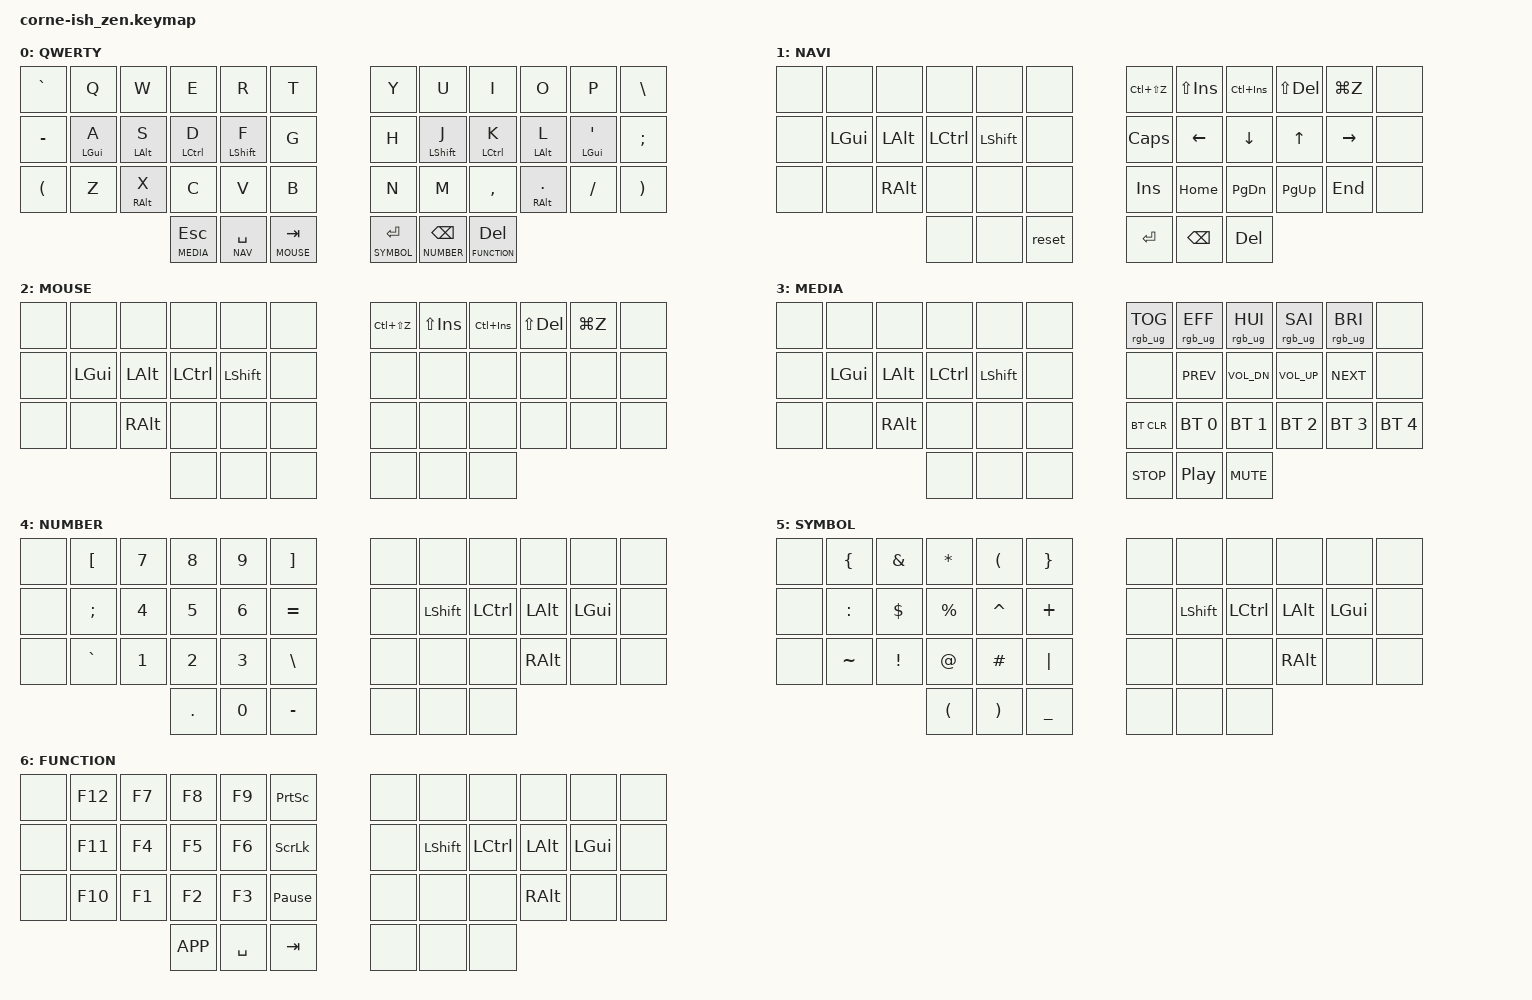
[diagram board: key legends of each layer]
/*
*
* Copyright (c) 2021 lowprokb.ca
* SPDX-License-Identifier: MIT
*
*/

#include <behaviors.dtsi>
#include <dt-bindings/zmk/keys.h>
#include <dt-bindings/zmk/bt.h>
#include <dt-bindings/zmk/rgb.h>

#define QWERTY 0
#define NAV 1
#define MOUSE 2
#define MEDIA 3
#define NUMBER 4
#define SYMBOL 5
#define FUNCTION 6

&mt {
	tapping-term-ms = <200>;
	flavor = "tap-preferred";
};

&caps_word {
    continue-list = <UNDERSCORE MINUS>; // Allow _ and - to NOT break caps word
};

/ {
		combos {
			compatible = "zmk,combos";

			combo_caps_word {
				timeout-ms = <50>;
				key-positions = <16 19>; // LSHIFT + RSHIFT
				bindings = <&caps_word>;
				layers = <0>; // Only on QWERTY layer
			};

			// The following combos are really only for MacOS
			combo_undo {
				timeout-ms = <50>;
				key-positions = <25 26>; // Z + X
				bindings = <&kp LG(Z)>; // CMD + Z
				layers = <0>; // Only on QWERTY layer
			};

			combo_cut {
				timeout-ms = <50>;
				key-positions = <25 27>; // Z + C
				bindings = <&kp LG(X)>; // CMD + X
				layers = <0>; // Only on QWERTY layer
			};

			combo_copy {
				timeout-ms = <50>;
				key-positions = <26 27>; // X + C
				bindings = <&kp LG(C)>; // CMD + C
				layers = <0>; // Only on QWERTY layer
			};

			combo_paste {
				timeout-ms = <50>;
				key-positions = <27 28>; // C + V
				bindings = <&kp LG(V)>; // CMD + V
				layers = <0>; // Only on QWERTY layer
			};

			combo_select_all {
				timeout-ms = <50>;
				key-positions = <25 28>; // Z + V
				bindings = <&kp LG(A)>; // CMD + A
				layers = <0>; // Only on QWERTY layer
			};

		};

        keymap {
                compatible = "zmk,keymap";

                default_layer {
                        label = "QWERTY";
                        bindings = <
   &kp GRAVE &kp Q      &kp W 	   &kp E       &kp R       &kp T    &kp Y &kp U       &kp I       &kp O        &kp P         &kp BSLH
   &kp MINUS &mt LGUI A &mt LALT S &mt LCTRL D &mt LSHFT F &kp G    &kp H &mt LSHFT J &mt LCTRL K &mt LALT L   &mt LGUI SQT  &kp SEMI
   &kp LPAR  &kp Z      &mt RALT X &kp C       &kp V       &kp B    &kp N &kp M       &kp COMMA   &mt RALT DOT &kp FSLH      &kp RPAR
            	       &lt MEDIA ESC &lt NAV SPACE &lt MOUSE TAB    &lt SYMBOL RET &lt NUMBER BSPC &lt FUNCTION DEL
                        >;
                };

                navigation_layer {
                        label = "NAVI";
                        bindings = <
   &none &none    &none    &none     &none     &none    &kp LC(LS(Z)) &kp LS(INS) &kp LC(INS) &kp LS(DEL) &kp LG(Z) &none
   &none &kp LGUI &kp LALT &kp LCTRL &kp LSHFT &none    &kp CAPS      &kp LEFT    &kp DOWN    &kp UP      &kp RIGHT &none
   &none &none    &kp RALT &none     &none     &none    &kp INS       &kp HOME    &kp PG_DN   &kp PG_UP   &kp END   &none
                                   &none &none &reset   &kp RET &kp BSPC &kp DEL
                        >;
                };

                mouse_layer {
                        label = "MOUSE";
                        bindings = < 
   &none &none    &none    &none     &none     &none    &kp LC(LS(Z)) &kp LS(INS) &kp LC(INS) &kp LS(DEL) &kp LG(Z) &none
   &none &kp LGUI &kp LALT &kp LCTRL &kp LSHFT &none    &none         &none       &none       &none       &none     &none
   &none &none    &kp RALT &none     &none     &none    &none         &none       &none       &none       &none     &none
                                   &none &none &none    &none &none &none
                        >;
                };

                media_layer {
                        label = "MEDIA";
                        bindings = <
   &none &none    &none    &none     &none     &none    &rgb_ug RGB_TOG &rgb_ug RGB_EFF &rgb_ug RGB_HUI &rgb_ug RGB_SAI &rgb_ug RGB_BRI &none
   &none &kp LGUI &kp LALT &kp LCTRL &kp LSHFT &none    &none           &kp C_PREV      &kp C_VOL_DN    &kp C_VOL_UP    &kp C_NEXT      &none
   &none &none    &kp RALT &none     &none     &none    &bt BT_CLR      &bt BT_SEL 0    &bt BT_SEL 1    &bt BT_SEL 2    &bt BT_SEL 3    &bt BT_SEL 4
                                   &none &none &none    &kp C_STOP &kp C_PP &kp K_MUTE
                        >;
                };

                number_layer {
                        label = "NUMBER";
                        bindings = <
   &none &kp LBKT  &kp N7 &kp N8 &kp N9 &kp RBKT     &none &none     &none     &none    &none    &none
   &none &kp SEMI  &kp N4 &kp N5 &kp N6 &kp EQUAL    &none &kp LSHFT &kp LCTRL &kp LALT &kp LGUI &none
   &none &kp GRAVE &kp N1 &kp N2 &kp N3 &kp BSLH     &none &none     &none     &kp RALT &none    &none
                      &kp DOT &kp N0 &kp MINUS       &none &none &none
                        >;
                };

                symbol_layer {
                        label = "SYMBOL";
                        bindings = <
   &none &kp LBRC  &kp AMPS &kp ASTRK &kp LPAR  &kp RBRC    &none &none     &none     &none    &none    &none 
   &none &kp COLON &kp DLLR &kp PRCNT &kp CARET &kp PLUS    &none &kp LSHFT &kp LCTRL &kp LALT &kp LGUI &none
   &none &kp TILDE &kp EXCL &kp AT    &kp HASH  &kp PIPE    &none &none     &none     &kp RALT &none    &none
                             &kp LPAR &kp RPAR &kp UNDER    &none &none &none
                        >;
                };

                function_layer {
                        label = "FUNCTION";
                        bindings = <
   &none &kp F12 &kp F7 &kp F8 &kp F9 &kp PSCRN          &none &none     &none     &none    &none    &none 
   &none &kp F11 &kp F4 &kp F5 &kp F6 &kp SLCK           &none &kp LSHFT &kp LCTRL &kp LALT &kp LGUI &none
   &none &kp F10 &kp F1 &kp F2 &kp F3 &kp PAUSE_BREAK    &none &none     &none     &kp RALT &none    &none
                     	  &kp K_APP &kp SPACE &kp TAB    &none &none &none
                        >;
                };
        };
};
